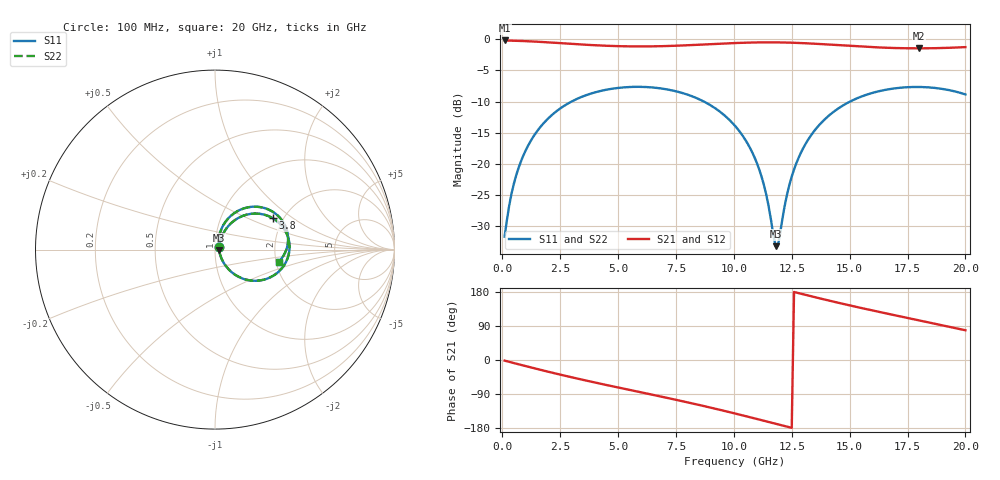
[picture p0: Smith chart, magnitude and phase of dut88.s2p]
! Touchstone file exported from HFSS 2026.1.0
!  File:  C:/ffzhzh/LocalFiles/Ansys_Project_Files/temp_train_TSV_RDL_88_1782972648_45568.aedt
!  Generated:  02:19:30 PM Jul  2, 2026
!  Design:  TSV_RDL
!  Project:  temp_train_TSV_RDL_88_1782972648_45568
! Variables:
!  h_bsmrdl = 5.03um
!  h_ox = 20um
!  h_rdl = 5um
!  h_sub = 76.4um
!  h_tmrdl = 4.56um
!  h_tsv = 76.4um
!  h_via = 3um
!  l_bsmrdl = 798.98um
!  l_sub = 4599.88um
!  l_tmrdl = 428.58um
!  m_sub = 200um
!  pitch = 35.64um
!  r_tsv = 11.56um
!  s_tmrdl = 10um
!  w_bsmrdl = 18.69um
!  w_sub = 500um
!  w_tmrdl = 10.85um
!  x_tsv_center1 = 434.005um
!  x_tsv_center2 = 1251.675um
!  x_tsv_center3 = 1691.105um
!  x_tsv_center4 = 2508.775um
!  x_tsv_center5 = 2948.205um
!  x_tsv_center6 = 3765.875um
# GHz S MA R 50.000000
! Terminal data exported
! Port[1] = TM_RDL1_1_T1
! Port[2] = TM_RDL5_1_T1
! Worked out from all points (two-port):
!   200 points, 100 MHz to 20 GHz, reference 50 ohm
!   highest |S21| = -0.20 dB at 100 MHz (marker M1); lowest = -1.5 dB at 18 GHz (marker M2)
!   |S21| within 3 dB of the highest: start of sweep to end of sweep
!   lowest |S11| = -33.2 dB at 11.8 GHz (marker M3), VSWR 1.04, Z = 52.2 - j0.229 ohm
!   |S11| at or under -10 dB: start of sweep to 2.984 GHz; 8.715 GHz to 15.01 GHz (6.297 GHz wide, 53.1 % of centre)
!   |S22| runs from -33.0 to -7.6 dB; largest |S21 - S12| = 1.7e-14
!   S11 on the Smith chart (normalised r, x): 100 MHz: 1.05, +0.03; 3.8 GHz: 1.76, +0.71; 20 GHz: 2.06, -0.32
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0.1  0.0262 30.3  0.9777 -1.7  0.9777 -1.7  0.0262 30.3
! Gamma 0 0 0 0
! Port Impedance 50 0 50 0
0.3  0.0467 54.3  0.9753 -4.9  0.9753 -4.9  0.0467 54.3
0.5  0.06962 60.7  0.9728 -8.1  0.9728 -8.1  0.06962 60.7
1.2  0.1501 60.5  0.9619 -19.1  0.9619 -19.1  0.1501 60.5
2.2  0.2525 49.3  0.9386 -34.2  0.9386 -34.2  0.2525 49.3
3.5  0.3495 32.6  0.9057 -52.6  0.9057 -52.6  0.3495 32.6
3.8  0.3656 28.7  0.8991 -56.7  0.8991 -56.7  0.3656 28.8
5.3  0.4123 10.1  0.8778 -76.4  0.8778 -76.4  0.4123 10.1
6.8  0.4048 -8.3  0.8791 -95.8  0.8791 -95.8  0.4047 -8.2
8.7  0.3173 -32.1  0.9075 -121.4  0.9075 -121.4  0.3172 -32.0
10.1  0.1975 -49.5  0.933 -141.9  0.933 -141.9  0.1974 -49.3
11.1  0.09014 -56.8  0.9435 -157.2  0.9435 -157.2  0.09014 -56.5
11.4  0.05687 -53.0  0.9444 -161.9  0.9444 -161.9  0.05694 -52.5
11.8  0.02199 -5.7  0.9439 -168.1  0.9439 -168.1  0.02242 -5.1
11.9  0.02217 23.8  0.9435 -169.7  0.9435 -169.7  0.02265 23.8
12.3  0.05739 69.7  0.9404 -175.9  0.9404 -175.9  0.05767 69.3
12.6  0.09053 73.4  0.9368 179.5  0.9368 179.5  0.09075 73.1
13.4  0.1768 68.3  0.9227 167.3  0.9227 167.3  0.177 68.2
14.8  0.3012 51.7  0.8897 146.9  0.8897 146.9  0.3013 51.6
16.7  0.3978 28.4  0.8531 121.4  0.8531 121.4  0.3979 28.4
18  0.4145 13.0  0.8453 104.7  0.8453 104.7  0.4146 12.9
20  0.3612 -10.9  0.8646 78.5  0.8646 78.5  0.3613 -10.9
